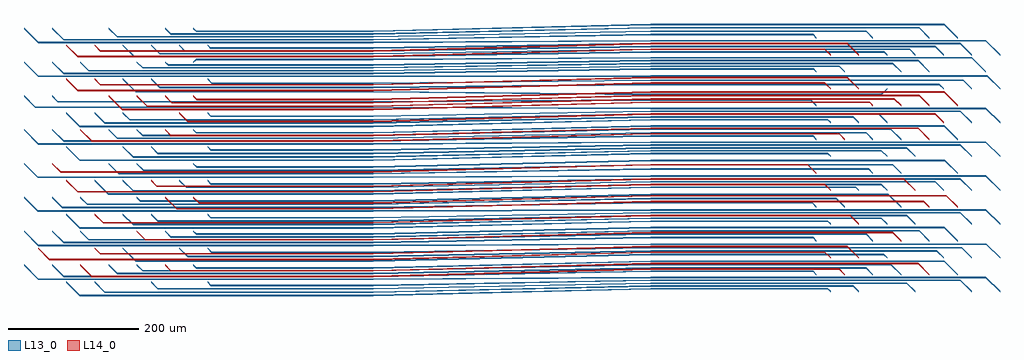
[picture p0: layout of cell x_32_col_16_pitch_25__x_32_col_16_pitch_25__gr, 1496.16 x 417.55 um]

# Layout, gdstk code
import gdstk
lib = gdstk.Library(unit=1e-6, precision=1e-09)
def R(c, l, rs):  # rectangles x0, y0, x1, y1
    for r in rs: c.add(gdstk.rectangle(r[:2], r[2:], *l))
def A(c, l, x, y, w, h, nx, ny, dx, dy):  # array of equal rectangles
    R(c, l, [(x+i*dx, y+j*dy, x+i*dx+w, y+j*dy+h) for i in range(nx) for j in range(ny)])
def P(c, l, *ps):  # polygons
    for p in ps: c.add(gdstk.Polygon(p, *l))
L13_0 = (13, 0)
L14_0 = (14, 0)

x_32_col_16_pitch_25__x_ = lib.new_cell('x_32_col_16_pitch_25__x_32_col_16_pitch_25__gr')
A(x_32_col_16_pitch_25__x_, L13_0, 1425.106, 1466.224, 449.894, 2, 1, 3, 0, 103.68)
A(x_32_col_16_pitch_25__x_, L13_0, 2300, 1476.56, 271.46, 2, 1, 3, 0, 103.68)
A(x_32_col_16_pitch_25__x_, L13_0, 1544.638, 1476.592, 330.362, 2, 1, 3, 0, 103.68)
A(x_32_col_16_pitch_25__x_, L13_0, 2300, 1485.2, 392.72, 2, 1, 3, 0, 103.68)
A(x_32_col_16_pitch_25__x_, L13_0, 2300, 1555.184, 248.946, 2, 1, 3, 0, 155.52)
A(x_32_col_16_pitch_25__x_, L13_0, 2300, 1560.368, 330.362, 2, 1, 3, 0, 155.52)
A(x_32_col_16_pitch_25__x_, L13_0, 2300, 1570.736, 449.894, 2, 1, 3, 0, 155.52)
A(x_32_col_16_pitch_25__x_, L13_0, 1506.522, 1575.088, 368.478, 2, 1, 3, 0, 51.84)
A(x_32_col_16_pitch_25__x_, L13_0, 2300, 1584.56, 353.74, 2, 1, 3, 0, 51.84)
A(x_32_col_16_pitch_25__x_, L13_0, 1626.054, 1585.456, 248.946, 2, 1, 4, 0, 51.84)
A(x_32_col_16_pitch_25__x_, L13_0, 2300, 1593.2, 475, 2, 1, 4, 0, 51.84)
A(x_32_col_16_pitch_25__x_, L13_0, 2300, 1597.52, 513.982, 2, 1, 4, 0, 51.84)
R(x_32_col_16_pitch_25__x_, L13_0, [(1463.222,1471.408,1875,1473.408), (2300,1480.88,2610.44,1482.88), (1626.054,1481.776,1875,1483.776), (2300,1489.52,2775,1491.52), (1361.017,1491.28,1875,1493.28), (2300,1493.84,2813.982,1495.84), (1400,1495.6,1875,1497.6), (1482.28,1499.92,1875,1501.92), (2300,1503.344,2548.946,1505.344), (1521.26,1504.24,1875,1506.24), (2300,1508.528,2630.362,1510.528), (1603.54,1508.56,1875,1510.56), (2300,1513.712,2668.478,1515.712), (2300,1518.896,2749.894,1520.896), (1510.41,1519.36,1875,1521.36), (1590.53,1525.84,1875,1527.84), (2300,1529.264,2657.196,1531.264), (1627.35,1532.32,1875,1534.32), (2300,1534.448,2738.612,1536.448), (2300,1539.632,2776.728,1541.632), (1361.017,1543.12,1875,1545.12), (2300,1544.816,2814.846,1546.816), (1400,1547.44,1875,1549.44), (1438.98,1551.76,1875,1553.76), (1564.56,1556.08,1875,1558.08), (1603.54,1560.4,1875,1562.4), (2300,1565.552,2711.778,1567.552), (1360.153,1595.824,1875,1597.824), (1398.272,1601.008,1875,1603.008), (1436.388,1606.192,1875,1608.192), (2300,1608.32,2547.65,1610.32), (1517.804,1611.376,1875,1613.376), (2300,1614.8,2584.47,1616.8), (2300,1621.28,2664.59,1623.28), (1468.406,1621.744,1875,1623.744), (2300,1632.08,2614.76,1634.08), (1587.938,1632.112,1875,1634.112), (2300,1640.72,2736.02,1642.72), (1360.153,1647.664,1875,1649.664), (1484.872,1652.848,1875,1654.848), (1522.988,1658.032,1875,1660.032), (2300,1660.16,2634.25,1662.16), (1604.404,1663.216,1875,1665.216), (2300,1666.64,2671.07,1668.64), (2300,1673.12,2751.19,1675.12), (1361.017,1698.64,1875,1700.64), (1400,1702.96,1875,1704.96), (1482.28,1707.28,1875,1709.28), (1521.26,1711.6,1875,1713.6), (1603.54,1715.92,1875,1717.92), (2300,1721.072,2668.478,1723.072), (1425.106,1725.424,1875,1727.424), (1463.222,1730.608,1875,1732.608), (2300,1735.76,2571.46,1737.76), (1501.338,1735.792,1875,1737.792), (2300,1740.08,2610.44,1742.08), (2300,1744.4,2649.42,1746.4), (1356.697,1754.8,1875,1756.8), (1391.36,1763.44,1875,1765.44), (2300,1766,2545.49,1768), (2300,1774.64,2653.74,1776.64), (1510.41,1778.56,1875,1780.56), (1547.23,1785.04,1875,1787.04), (2300,1789.76,2742.5,1791.76), (1627.35,1791.52,1875,1793.52), (2300,1796.24,2779.32,1798.24), (1361.017,1802.32,1875,1804.32), (2300,1802.72,2816.142,1804.72), (1400,1806.64,1875,1808.64), (1438.98,1810.96,1875,1812.96), (2300,1813.52,2549.81,1815.52), (1521.26,1815.28,1875,1817.28), (2300,1817.84,2588.79,1819.84), (1560.24,1819.6,1875,1821.6), (2300,1822.16,2671.07,1824.16), (2300,1826.48,2710.05,1828.48), (1603.54,1828.24,1875,1830.24), (2300,1830.8,2792.332,1832.8), (1508.25,1832.56,1875,1834.56), (1547.23,1836.88,1875,1838.88), (2300,1839.44,2658.06,1841.44), (1586.21,1841.2,1875,1843.2), (2300,1843.76,2697.04,1845.76), (1625.19,1845.52,1875,1847.52), (2300,1848.08,2736.02,1850.08), (2300,1852.4,2775,1854.4), (1361.017,1854.16,1875,1856.16), (2300,1856.72,2813.982,1858.72), (1400,1858.48,1875,1860.48), (1482.28,1862.8,1875,1864.8), (1564.56,1867.12,1875,1869.12), (1603.54,1871.44,1875,1873.44), (2300,1876.592,2711.778,1878.592)])
P(x_32_col_16_pitch_25__x_, L13_0, [(2554.13,1861.04),(2554.13,1863.04),(2548.946,1868.224),(2548.946,1866.224)],
  [(2300,1866.224),(2300,1868.224),(1875,1860.48),(1875,1858.48)],
  [(1400,1858.48),(1400,1860.48),(1382.72,1877.76),(1382.72,1875.76)],
  [(2640.73,1861.04),(2640.73,1863.04),(2630.362,1873.408),(2630.362,1871.408)],
  [(2300,1871.408),(2300,1873.408),(1875,1864.8),(1875,1862.8)],
  [(1482.28,1862.8),(1482.28,1864.8),(1469.32,1877.76),(1469.32,1875.76)],
  [(2727.33,1861.04),(2727.33,1863.04),(2711.778,1878.592),(2711.778,1876.592)],
  [(2300,1876.592),(2300,1878.592),(1875,1869.12),(1875,1867.12)],
  [(1564.56,1867.12),(1564.56,1869.12),(1555.92,1877.76),(1555.92,1875.76)],
  [(2770.63,1861.04),(2770.63,1863.04),(2749.894,1883.776),(2749.894,1881.776)],
  [(2300,1881.776),(2300,1883.776),(1875,1873.44),(1875,1871.44)],
  [(1603.54,1871.44),(1603.54,1873.44),(1599.22,1877.76),(1599.22,1875.76)],
  [(2662.38,1835.12),(2662.38,1837.12),(2658.06,1841.44),(2658.06,1839.44)],
  [(2300,1839.44),(2300,1841.44),(1875,1834.56),(1875,1832.56)],
  [(1508.25,1832.56),(1508.25,1834.56),(1490.97,1851.84),(1490.97,1849.84)],
  [(2705.68,1835.12),(2705.68,1837.12),(2697.04,1845.76),(2697.04,1843.76)],
  [(2300,1843.76),(2300,1845.76),(1875,1838.88),(1875,1836.88)],
  [(1547.23,1836.88),(1547.23,1838.88),(1534.27,1851.84),(1534.27,1849.84)],
  [(2748.98,1835.12),(2748.98,1837.12),(2736.02,1850.08),(2736.02,1848.08)],
  [(2300,1848.08),(2300,1850.08),(1875,1843.2),(1875,1841.2)],
  [(1586.21,1841.2),(1586.21,1843.2),(1577.57,1851.84),(1577.57,1849.84)],
  [(2792.28,1835.12),(2792.28,1837.12),(2775,1854.4),(2775,1852.4)],
  [(2300,1852.4),(2300,1854.4),(1875,1847.52),(1875,1845.52)],
  [(1625.19,1845.52),(1625.19,1847.52),(1620.87,1851.84),(1620.87,1849.84)],
  [(2835.582,1835.12),(2835.582,1837.12),(2813.982,1858.72),(2813.982,1856.72)],
  [(2300,1856.72),(2300,1858.72),(1875,1856.16),(1875,1854.16)],
  [(1361.017,1854.16),(1361.017,1856.16),(1339.417,1877.76),(1339.417,1875.76)],
  [(2554.13,1809.2),(2554.13,1811.2),(2549.81,1815.52),(2549.81,1813.52)],
  [(2300,1813.52),(2300,1815.52),(1875,1808.64),(1875,1806.64)],
  [(1400,1806.64),(1400,1808.64),(1382.72,1825.92),(1382.72,1823.92)],
  [(2597.43,1809.2),(2597.43,1811.2),(2588.79,1819.84),(2588.79,1817.84)],
  [(2300,1817.84),(2300,1819.84),(1875,1812.96),(1875,1810.96)],
  [(1438.98,1810.96),(1438.98,1812.96),(1426.02,1825.92),(1426.02,1823.92)],
  [(2684.03,1809.2),(2684.03,1811.2),(2671.07,1824.16),(2671.07,1822.16)],
  [(2300,1822.16),(2300,1824.16),(1875,1817.28),(1875,1815.28)],
  [(1521.26,1815.28),(1521.26,1817.28),(1512.62,1825.92),(1512.62,1823.92)],
  [(2727.33,1809.2),(2727.33,1811.2),(2710.05,1828.48),(2710.05,1826.48)],
  [(2300,1826.48),(2300,1828.48),(1875,1821.6),(1875,1819.6)],
  [(1560.24,1819.6),(1560.24,1821.6),(1555.92,1825.92),(1555.92,1823.92)],
  [(2813.932,1809.2),(2813.932,1811.2),(2792.332,1832.8),(2792.332,1830.8)],
  [(2300,1830.8),(2300,1832.8),(1875,1830.24),(1875,1828.24)],
  [(1603.54,1828.24),(1603.54,1830.24),(1599.22,1825.92),(1599.22,1823.92)],
  [(2662.38,1783.28),(2662.38,1785.28),(2653.74,1776.64),(2653.74,1774.64)],
  [(2300,1774.64),(2300,1776.64),(1875,1780.56),(1875,1778.56)],
  [(1510.41,1778.56),(1510.41,1780.56),(1490.97,1800),(1490.97,1798)],
  [(2748.98,1783.28),(2748.98,1785.28),(2742.5,1791.76),(2742.5,1789.76)],
  [(2300,1789.76),(2300,1791.76),(1875,1787.04),(1875,1785.04)],
  [(1547.23,1785.04),(1547.23,1787.04),(1534.27,1800),(1534.27,1798)],
  [(2792.28,1783.28),(2792.28,1785.28),(2779.32,1798.24),(2779.32,1796.24)],
  [(2300,1796.24),(2300,1798.24),(1875,1793.52),(1875,1791.52)],
  [(1627.35,1791.52),(1627.35,1793.52),(1620.87,1800),(1620.87,1798)],
  [(2835.582,1783.28),(2835.582,1785.28),(2816.142,1804.72),(2816.142,1802.72)],
  [(2300,1802.72),(2300,1804.72),(1875,1804.32),(1875,1802.32)],
  [(1361.017,1802.32),(1361.017,1804.32),(1339.417,1825.92),(1339.417,1823.92)],
  [(2554.13,1757.36),(2554.13,1759.36),(2545.49,1768),(2545.49,1766)],
  [(2300,1766),(2300,1768),(1875,1765.44),(1875,1763.44)],
  [(1391.36,1763.44),(1391.36,1765.44),(1382.72,1774.08),(1382.72,1772.08)],
  [(2575.78,1731.44),(2575.78,1733.44),(2571.46,1737.76),(2571.46,1735.76)],
  [(2300,1735.76),(2300,1737.76),(1875,1727.424),(1875,1725.424)],
  [(1425.106,1725.424),(1425.106,1727.424),(1404.37,1748.16),(1404.37,1746.16)],
  [(2619.08,1731.44),(2619.08,1733.44),(2610.44,1742.08),(2610.44,1740.08)],
  [(2300,1740.08),(2300,1742.08),(1875,1732.608),(1875,1730.608)],
  [(1463.222,1730.608),(1463.222,1732.608),(1447.67,1748.16),(1447.67,1746.16)],
  [(2662.38,1731.44),(2662.38,1733.44),(2649.42,1746.4),(2649.42,1744.4)],
  [(2300,1744.4),(2300,1746.4),(1875,1737.792),(1875,1735.792)],
  [(1501.338,1735.792),(1501.338,1737.792),(1490.97,1748.16),(1490.97,1746.16)],
  [(2792.28,1731.44),(2792.28,1733.44),(2775,1750.72),(2775,1748.72)],
  [(2300,1748.72),(2300,1750.72),(1875,1742.976),(1875,1740.976)],
  [(1626.054,1740.976),(1626.054,1742.976),(1620.87,1748.16),(1620.87,1746.16)],
  [(2835.582,1731.44),(2835.582,1733.44),(2813.982,1755.04),(2813.982,1753.04)],
  [(2300,1753.04),(2300,1755.04),(1875,1756.8),(1875,1754.8)],
  [(1356.697,1754.8),(1356.697,1756.8),(1339.417,1774.08),(1339.417,1772.08)],
  [(2554.13,1705.52),(2554.13,1707.52),(2548.946,1712.704),(2548.946,1710.704)],
  [(2300,1710.704),(2300,1712.704),(1875,1704.96),(1875,1702.96)],
  [(1400,1702.96),(1400,1704.96),(1382.72,1722.24),(1382.72,1720.24)],
  [(2640.73,1705.52),(2640.73,1707.52),(2630.362,1717.888),(2630.362,1715.888)],
  [(2300,1715.888),(2300,1717.888),(1875,1709.28),(1875,1707.28)],
  [(1482.28,1707.28),(1482.28,1709.28),(1469.32,1722.24),(1469.32,1720.24)],
  [(2684.03,1705.52),(2684.03,1707.52),(2668.478,1723.072),(2668.478,1721.072)],
  [(2300,1721.072),(2300,1723.072),(1875,1713.6),(1875,1711.6)],
  [(1521.26,1711.6),(1521.26,1713.6),(1512.62,1722.24),(1512.62,1720.24)],
  [(2770.63,1705.52),(2770.63,1707.52),(2749.894,1728.256),(2749.894,1726.256)],
  [(2300,1726.256),(2300,1728.256),(1875,1717.92),(1875,1715.92)],
  [(1603.54,1715.92),(1603.54,1717.92),(1599.22,1722.24),(1599.22,1720.24)],
  [(2575.78,1679.6),(2575.78,1681.6),(2571.46,1685.92),(2571.46,1683.92)],
  [(2300,1683.92),(2300,1685.92),(1875,1675.584),(1875,1673.584)],
  [(1425.106,1673.584),(1425.106,1675.584),(1404.37,1696.32),(1404.37,1694.32)],
  [(2662.38,1679.6),(2662.38,1681.6),(2653.74,1690.24),(2653.74,1688.24)],
  [(2300,1688.24),(2300,1690.24),(1875,1680.768),(1875,1678.768)],
  [(1506.522,1678.768),(1506.522,1680.768),(1490.97,1696.32),(1490.97,1694.32)],
  [(2705.68,1679.6),(2705.68,1681.6),(2692.72,1694.56),(2692.72,1692.56)],
  [(2300,1692.56),(2300,1694.56),(1875,1685.952),(1875,1683.952)],
  [(1544.638,1683.952),(1544.638,1685.952),(1534.27,1696.32),(1534.27,1694.32)],
  [(2792.28,1679.6),(2792.28,1681.6),(2775,1698.88),(2775,1696.88)],
  [(2300,1696.88),(2300,1698.88),(1875,1691.136),(1875,1689.136)],
  [(1626.054,1689.136),(1626.054,1691.136),(1620.87,1696.32),(1620.87,1694.32)],
  [(2835.582,1679.6),(2835.582,1681.6),(2813.982,1703.2),(2813.982,1701.2)],
  [(2300,1701.2),(2300,1703.2),(1875,1700.64),(1875,1698.64)],
  [(1361.017,1698.64),(1361.017,1700.64),(1339.417,1722.24),(1339.417,1720.24)],
  [(2640.73,1653.68),(2640.73,1655.68),(2634.25,1662.16),(2634.25,1660.16)],
  [(2300,1660.16),(2300,1662.16),(1875,1654.848),(1875,1652.848)],
  [(1484.872,1652.848),(1484.872,1654.848),(1469.32,1670.4),(1469.32,1668.4)],
  [(2684.03,1653.68),(2684.03,1655.68),(2671.07,1668.64),(2671.07,1666.64)],
  [(2300,1666.64),(2300,1668.64),(1875,1660.032),(1875,1658.032)],
  [(1522.988,1658.032),(1522.988,1660.032),(1512.62,1670.4),(1512.62,1668.4)],
  [(2770.63,1653.68),(2770.63,1655.68),(2751.19,1675.12),(2751.19,1673.12)],
  [(2300,1673.12),(2300,1675.12),(1875,1665.216),(1875,1663.216)],
  [(1604.404,1663.216),(1604.404,1665.216),(1599.22,1670.4),(1599.22,1668.4)],
  [(2619.08,1627.76),(2619.08,1629.76),(2614.76,1634.08),(2614.76,1632.08)],
  [(2300,1632.08),(2300,1634.08),(1875,1623.744),(1875,1621.744)],
  [(1468.406,1621.744),(1468.406,1623.744),(1447.67,1644.48),(1447.67,1642.48)],
  [(2662.38,1627.76),(2662.38,1629.76),(2653.74,1638.4),(2653.74,1636.4)],
  [(2300,1636.4),(2300,1638.4),(1875,1628.928),(1875,1626.928)],
  [(1506.522,1626.928),(1506.522,1628.928),(1490.97,1644.48),(1490.97,1642.48)],
  [(2748.98,1627.76),(2748.98,1629.76),(2736.02,1642.72),(2736.02,1640.72)],
  [(2300,1640.72),(2300,1642.72),(1875,1634.112),(1875,1632.112)],
  [(1587.938,1632.112),(1587.938,1634.112),(1577.57,1644.48),(1577.57,1642.48)],
  [(2792.28,1627.76),(2792.28,1629.76),(2775,1647.04),(2775,1645.04)],
  [(2300,1645.04),(2300,1647.04),(1875,1639.296),(1875,1637.296)],
  [(1626.054,1637.296),(1626.054,1639.296),(1620.87,1644.48),(1620.87,1642.48)],
  [(2835.582,1627.76),(2835.582,1629.76),(2813.982,1651.36),(2813.982,1649.36)],
  [(2300,1649.36),(2300,1651.36),(1875,1649.664),(1875,1647.664)],
  [(1360.153,1647.664),(1360.153,1649.664),(1339.417,1670.4),(1339.417,1668.4)],
  [(2554.13,1601.84),(2554.13,1603.84),(2547.65,1610.32),(2547.65,1608.32)],
  [(2300,1608.32),(2300,1610.32),(1875,1603.008),(1875,1601.008)],
  [(1398.272,1601.008),(1398.272,1603.008),(1382.72,1618.56),(1382.72,1616.56)],
  [(2597.43,1601.84),(2597.43,1603.84),(2584.47,1616.8),(2584.47,1614.8)],
  [(2300,1614.8),(2300,1616.8),(1875,1608.192),(1875,1606.192)],
  [(1436.388,1606.192),(1436.388,1608.192),(1426.02,1618.56),(1426.02,1616.56)],
  [(2684.03,1601.84),(2684.03,1603.84),(2664.59,1623.28),(2664.59,1621.28)],
  [(2300,1621.28),(2300,1623.28),(1875,1613.376),(1875,1611.376)],
  [(1517.804,1611.376),(1517.804,1613.376),(1512.62,1618.56),(1512.62,1616.56)],
  [(2575.78,1575.92),(2575.78,1577.92),(2571.46,1582.24),(2571.46,1580.24)],
  [(2300,1580.24),(2300,1582.24),(1875,1571.904),(1875,1569.904)],
  [(1425.106,1569.904),(1425.106,1571.904),(1404.37,1592.64),(1404.37,1590.64)],
  [(2662.38,1575.92),(2662.38,1577.92),(2653.74,1586.56),(2653.74,1584.56)],
  [(2300,1584.56),(2300,1586.56),(1875,1577.088),(1875,1575.088)],
  [(1506.522,1575.088),(1506.522,1577.088),(1490.97,1592.64),(1490.97,1590.64)],
  [(2705.68,1575.92),(2705.68,1577.92),(2692.72,1590.88),(2692.72,1588.88)],
  [(2300,1588.88),(2300,1590.88),(1875,1582.272),(1875,1580.272)],
  [(1544.638,1580.272),(1544.638,1582.272),(1534.27,1592.64),(1534.27,1590.64)],
  [(2792.28,1575.92),(2792.28,1577.92),(2775,1595.2),(2775,1593.2)],
  [(2300,1593.2),(2300,1595.2),(1875,1587.456),(1875,1585.456)],
  [(1626.054,1585.456),(1626.054,1587.456),(1620.87,1592.64),(1620.87,1590.64)],
  [(2835.582,1575.92),(2835.582,1577.92),(2813.982,1599.52),(2813.982,1597.52)],
  [(2300,1597.52),(2300,1599.52),(1875,1597.824),(1875,1595.824)],
  [(1360.153,1595.824),(1360.153,1597.824),(1339.417,1618.56),(1339.417,1616.56)],
  [(2554.13,1550),(2554.13,1552),(2548.946,1557.184),(2548.946,1555.184)],
  [(2300,1555.184),(2300,1557.184),(1875,1549.44),(1875,1547.44)],
  [(1400,1547.44),(1400,1549.44),(1382.72,1566.72),(1382.72,1564.72)],
  [(2640.73,1550),(2640.73,1552),(2630.362,1562.368),(2630.362,1560.368)],
  [(2300,1560.368),(2300,1562.368),(1875,1553.76),(1875,1551.76)],
  [(1438.98,1551.76),(1438.98,1553.76),(1426.02,1566.72),(1426.02,1564.72)],
  [(2727.33,1550),(2727.33,1552),(2711.778,1567.552),(2711.778,1565.552)],
  [(2300,1565.552),(2300,1567.552),(1875,1558.08),(1875,1556.08)],
  [(1564.56,1556.08),(1564.56,1558.08),(1555.92,1566.72),(1555.92,1564.72)],
  [(2770.63,1550),(2770.63,1552),(2749.894,1572.736),(2749.894,1570.736)],
  [(2300,1570.736),(2300,1572.736),(1875,1562.4),(1875,1560.4)],
  [(1603.54,1560.4),(1603.54,1562.4),(1599.22,1566.72),(1599.22,1564.72)],
  [(2662.38,1524.08),(2662.38,1526.08),(2657.196,1531.264),(2657.196,1529.264)],
  [(2300,1529.264),(2300,1531.264),(1875,1521.36),(1875,1519.36)],
  [(1510.41,1519.36),(1510.41,1521.36),(1490.97,1540.8),(1490.97,1538.8)],
  [(2748.98,1524.08),(2748.98,1526.08),(2738.612,1536.448),(2738.612,1534.448)],
  [(2300,1534.448),(2300,1536.448),(1875,1527.84),(1875,1525.84)],
  [(1590.53,1525.84),(1590.53,1527.84),(1577.57,1540.8),(1577.57,1538.8)],
  [(2792.28,1524.08),(2792.28,1526.08),(2776.728,1541.632),(2776.728,1539.632)],
  [(2300,1539.632),(2300,1541.632),(1875,1534.32),(1875,1532.32)],
  [(1627.35,1532.32),(1627.35,1534.32),(1620.87,1540.8),(1620.87,1538.8)],
  [(2835.582,1524.08),(2835.582,1526.08),(2814.846,1546.816),(2814.846,1544.816)],
  [(2300,1544.816),(2300,1546.816),(1875,1545.12),(1875,1543.12)],
  [(1361.017,1543.12),(1361.017,1545.12),(1339.417,1566.72),(1339.417,1564.72)],
  [(2554.13,1498.16),(2554.13,1500.16),(2548.946,1505.344),(2548.946,1503.344)],
  [(2300,1503.344),(2300,1505.344),(1875,1497.6),(1875,1495.6)],
  [(1400,1495.6),(1400,1497.6),(1382.72,1514.88),(1382.72,1512.88)],
  [(2640.73,1498.16),(2640.73,1500.16),(2630.362,1510.528),(2630.362,1508.528)],
  [(2300,1508.528),(2300,1510.528),(1875,1501.92),(1875,1499.92)],
  [(1482.28,1499.92),(1482.28,1501.92),(1469.32,1514.88),(1469.32,1512.88)],
  [(2684.03,1498.16),(2684.03,1500.16),(2668.478,1515.712),(2668.478,1513.712)],
  [(2300,1513.712),(2300,1515.712),(1875,1506.24),(1875,1504.24)],
  [(1521.26,1504.24),(1521.26,1506.24),(1512.62,1514.88),(1512.62,1512.88)],
  [(2770.63,1498.16),(2770.63,1500.16),(2749.894,1520.896),(2749.894,1518.896)],
  [(2300,1518.896),(2300,1520.896),(1875,1510.56),(1875,1508.56)],
  [(1603.54,1508.56),(1603.54,1510.56),(1599.22,1514.88),(1599.22,1512.88)],
  [(2575.78,1472.24),(2575.78,1474.24),(2571.46,1478.56),(2571.46,1476.56)],
  [(2300,1476.56),(2300,1478.56),(1875,1468.224),(1875,1466.224)],
  [(1425.106,1466.224),(1425.106,1468.224),(1404.37,1488.96),(1404.37,1486.96)],
  [(2619.08,1472.24),(2619.08,1474.24),(2610.44,1482.88),(2610.44,1480.88)],
  [(2300,1480.88),(2300,1482.88),(1875,1473.408),(1875,1471.408)],
  [(1463.222,1471.408),(1463.222,1473.408),(1447.67,1488.96),(1447.67,1486.96)],
  [(2705.68,1472.24),(2705.68,1474.24),(2692.72,1487.2),(2692.72,1485.2)],
  [(2300,1485.2),(2300,1487.2),(1875,1478.592),(1875,1476.592)],
  [(1544.638,1476.592),(1544.638,1478.592),(1534.27,1488.96),(1534.27,1486.96)],
  [(2792.28,1472.24),(2792.28,1474.24),(2775,1491.52),(2775,1489.52)],
  [(2300,1489.52),(2300,1491.52),(1875,1483.776),(1875,1481.776)],
  [(1626.054,1481.776),(1626.054,1483.776),(1620.87,1488.96),(1620.87,1486.96)],
  [(2835.582,1472.24),(2835.582,1474.24),(2813.982,1495.84),(2813.982,1493.84)],
  [(2300,1493.84),(2300,1495.84),(1875,1493.28),(1875,1491.28)],
  [(1361.017,1491.28),(1361.017,1493.28),(1339.417,1514.88),(1339.417,1512.88)])
R(x_32_col_16_pitch_25__x_, L14_0, [(1443.3,1495.6,1875,1497.6), (1564.56,1504.24,1875,1506.24), (2300,1506.8,2588.79,1508.8), (2300,1515.44,2710.05,1517.44), (1378.347,1521.52,1875,1523.52), (1456.31,1530.16,1875,1532.16), (2300,1532.72,2567.14,1534.72), (2300,1541.36,2601.8,1543.36), (1525.58,1551.76,1875,1553.76), (2300,1562.96,2671.07,1564.96), (1460.63,1577.68,1875,1579.68), (2300,1588.88,2606.12,1590.88), (1573.2,1599.28,1875,1601.28), (1607.86,1607.92,1875,1609.92), (2300,1610.48,2718.69,1612.48), (2300,1619.12,2753.35,1621.12), (1421.65,1625.2,1875,1627.2), (1542.91,1633.84,1875,1635.84), (2300,1636.4,2567.14,1638.4), (2300,1645.04,2688.4,1647.04), (1395.68,1655.44,1875,1657.44), (2300,1666.64,2541.17,1668.64), (1443.3,1702.96,1875,1704.96), (1564.56,1711.6,1875,1713.6), (2300,1714.16,2588.79,1716.16), (2300,1722.8,2710.05,1724.8), (1590.53,1733.2,1875,1735.2), (2300,1744.4,2736.02,1746.4), (1490.056,1751.344,1875,1753.344), (1528.172,1756.528,1875,1758.528), (1566.288,1761.712,1875,1763.712), (2300,1762.544,2635.546,1764.544), (1604.404,1766.896,1875,1768.896), (2300,1767.728,2673.662,1769.728), (2300,1772.912,2711.778,1774.912), (2300,1778.096,2749.894,1780.096), (1421.65,1780.72,1875,1782.72), (1456.31,1789.36,1875,1791.36), (2300,1791.92,2567.14,1793.92), (2300,1800.56,2601.8,1802.56), (1421.65,1832.56,1875,1834.56), (1456.31,1841.2,1875,1843.2), (2300,1843.76,2567.14,1845.76), (2300,1852.4,2601.8,1854.4)])
P(x_32_col_16_pitch_25__x_, L14_0, [(2575.78,1835.12),(2575.78,1837.12),(2567.14,1845.76),(2567.14,1843.76)],
  [(2300,1843.76),(2300,1845.76),(1875,1834.56),(1875,1832.56)],
  [(1421.65,1832.56),(1421.65,1834.56),(1404.37,1851.84),(1404.37,1849.84)],
  [(2619.08,1835.12),(2619.08,1837.12),(2601.8,1854.4),(2601.8,1852.4)],
  [(2300,1852.4),(2300,1854.4),(1875,1843.2),(1875,1841.2)],
  [(1456.31,1841.2),(1456.31,1843.2),(1447.67,1851.84),(1447.67,1849.84)],
  [(2575.78,1783.28),(2575.78,1785.28),(2567.14,1793.92),(2567.14,1791.92)],
  [(2300,1791.92),(2300,1793.92),(1875,1782.72),(1875,1780.72)],
  [(1421.65,1780.72),(1421.65,1782.72),(1404.37,1800),(1404.37,1798)],
  [(2619.08,1783.28),(2619.08,1785.28),(2601.8,1802.56),(2601.8,1800.56)],
  [(2300,1800.56),(2300,1802.56),(1875,1791.36),(1875,1789.36)],
  [(1456.31,1789.36),(1456.31,1791.36),(1447.67,1800),(1447.67,1798)],
  [(2640.73,1757.36),(2640.73,1759.36),(2635.546,1764.544),(2635.546,1762.544)],
  [(2300,1762.544),(2300,1764.544),(1875,1753.344),(1875,1751.344)],
  [(1490.056,1751.344),(1490.056,1753.344),(1469.32,1774.08),(1469.32,1772.08)],
  [(2684.03,1757.36),(2684.03,1759.36),(2673.662,1769.728),(2673.662,1767.728)],
  [(2300,1767.728),(2300,1769.728),(1875,1758.528),(1875,1756.528)],
  [(1528.172,1756.528),(1528.172,1758.528),(1512.62,1774.08),(1512.62,1772.08)],
  [(2727.33,1757.36),(2727.33,1759.36),(2711.778,1774.912),(2711.778,1772.912)],
  [(2300,1772.912),(2300,1774.912),(1875,1763.712),(1875,1761.712)],
  [(1566.288,1761.712),(1566.288,1763.712),(1555.92,1774.08),(1555.92,1772.08)],
  [(2770.63,1757.36),(2770.63,1759.36),(2749.894,1780.096),(2749.894,1778.096)],
  [(2300,1778.096),(2300,1780.096),(1875,1768.896),(1875,1766.896)],
  [(1604.404,1766.896),(1604.404,1768.896),(1599.22,1774.08),(1599.22,1772.08)],
  [(2748.98,1731.44),(2748.98,1733.44),(2736.02,1746.4),(2736.02,1744.4)],
  [(2300,1744.4),(2300,1746.4),(1875,1735.2),(1875,1733.2)],
  [(1590.53,1733.2),(1590.53,1735.2),(1577.57,1748.16),(1577.57,1746.16)],
  [(2597.43,1705.52),(2597.43,1707.52),(2588.79,1716.16),(2588.79,1714.16)],
  [(2300,1714.16),(2300,1716.16),(1875,1704.96),(1875,1702.96)],
  [(1443.3,1702.96),(1443.3,1704.96),(1426.02,1722.24),(1426.02,1720.24)],
  [(2727.33,1705.52),(2727.33,1707.52),(2710.05,1724.8),(2710.05,1722.8)],
  [(2300,1722.8),(2300,1724.8),(1875,1713.6),(1875,1711.6)],
  [(1564.56,1711.6),(1564.56,1713.6),(1555.92,1722.24),(1555.92,1720.24)],
  [(2554.13,1653.68),(2554.13,1655.68),(2541.17,1668.64),(2541.17,1666.64)],
  [(2300,1666.64),(2300,1668.64),(1875,1657.44),(1875,1655.44)],
  [(1395.68,1655.44),(1395.68,1657.44),(1382.72,1670.4),(1382.72,1668.4)],
  [(2575.78,1627.76),(2575.78,1629.76),(2567.14,1638.4),(2567.14,1636.4)],
  [(2300,1636.4),(2300,1638.4),(1875,1627.2),(1875,1625.2)],
  [(1421.65,1625.2),(1421.65,1627.2),(1404.37,1644.48),(1404.37,1642.48)],
  [(2705.68,1627.76),(2705.68,1629.76),(2688.4,1647.04),(2688.4,1645.04)],
  [(2300,1645.04),(2300,1647.04),(1875,1635.84),(1875,1633.84)],
  [(1542.91,1633.84),(1542.91,1635.84),(1534.27,1644.48),(1534.27,1642.48)],
  [(2727.33,1601.84),(2727.33,1603.84),(2718.69,1612.48),(2718.69,1610.48)],
  [(2300,1610.48),(2300,1612.48),(1875,1601.28),(1875,1599.28)],
  [(1573.2,1599.28),(1573.2,1601.28),(1555.92,1618.56),(1555.92,1616.56)],
  [(2770.63,1601.84),(2770.63,1603.84),(2753.35,1621.12),(2753.35,1619.12)],
  [(2300,1619.12),(2300,1621.12),(1875,1609.92),(1875,1607.92)],
  [(1607.86,1607.92),(1607.86,1609.92),(1599.22,1618.56),(1599.22,1616.56)],
  [(2619.08,1575.92),(2619.08,1577.92),(2606.12,1590.88),(2606.12,1588.88)],
  [(2300,1588.88),(2300,1590.88),(1875,1579.68),(1875,1577.68)],
  [(1460.63,1577.68),(1460.63,1579.68),(1447.67,1592.64),(1447.67,1590.64)],
  [(2684.03,1550),(2684.03,1552),(2671.07,1564.96),(2671.07,1562.96)],
  [(2300,1562.96),(2300,1564.96),(1875,1553.76),(1875,1551.76)],
  [(1525.58,1551.76),(1525.58,1553.76),(1512.62,1566.72),(1512.62,1564.72)],
  [(2575.78,1524.08),(2575.78,1526.08),(2567.14,1534.72),(2567.14,1532.72)],
  [(2300,1532.72),(2300,1534.72),(1875,1523.52),(1875,1521.52)],
  [(1378.347,1521.52),(1378.347,1523.52),(1361.067,1540.8),(1361.067,1538.8)],
  [(2619.08,1524.08),(2619.08,1526.08),(2601.8,1543.36),(2601.8,1541.36)],
  [(2300,1541.36),(2300,1543.36),(1875,1532.16),(1875,1530.16)],
  [(1456.31,1530.16),(1456.31,1532.16),(1447.67,1540.8),(1447.67,1538.8)],
  [(2597.43,1498.16),(2597.43,1500.16),(2588.79,1508.8),(2588.79,1506.8)],
  [(2300,1506.8),(2300,1508.8),(1875,1497.6),(1875,1495.6)],
  [(1443.3,1495.6),(1443.3,1497.6),(1426.02,1514.88),(1426.02,1512.88)],
  [(2727.33,1498.16),(2727.33,1500.16),(2710.05,1517.44),(2710.05,1515.44)],
  [(2300,1515.44),(2300,1517.44),(1875,1506.24),(1875,1504.24)],
  [(1564.56,1504.24),(1564.56,1506.24),(1555.92,1514.88),(1555.92,1512.88)])

lib.write_gds('x_32_col_16_pitch_25__x_32_col_16_pitch_25__gr.gds')
